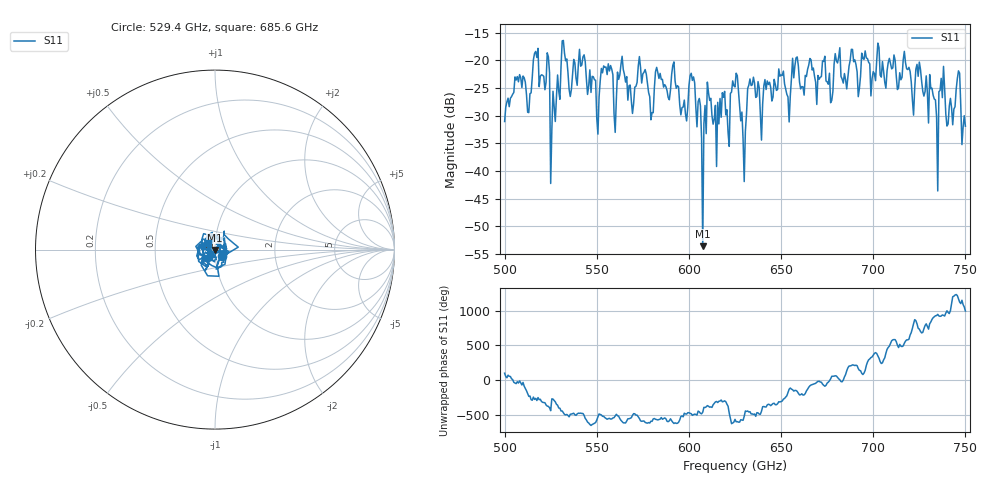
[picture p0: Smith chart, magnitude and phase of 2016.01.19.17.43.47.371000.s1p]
!Created with skrf (http://scikit-rf.org).
# GHz S RI R 50.0
!freq ReS11 ImS11
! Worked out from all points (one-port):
!   401 points, 500 GHz to 750 GHz, reference 50 ohm
!   lowest |S11| = -53.6 dB at 607.5 GHz (marker M1), VSWR 1.00, Z = 50 - j0.205 ohm
!   |S11| at or under -10 dB: start of sweep to end of sweep
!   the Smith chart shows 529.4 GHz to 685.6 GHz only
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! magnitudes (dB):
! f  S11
! 500 GHz  -31.1
! 506.9 GHz  -22.9
! 513.1 GHz  -29.4
! 516.9 GHz  -18.4
! 523.1 GHz  -18.6
! 526.2 GHz  -25.6
! 531.2 GHz  -16.5
! 550.6 GHz  -33.3
! 562.5 GHz  -22.6
! 579.4 GHz  -30.7
! 583.1 GHz  -22.2
! 593.8 GHz  -24.6
! 598.1 GHz  -29.7
! 601.9 GHz  -23.6
! 607.5 GHz  -53.6
! 611.2 GHz  -27.2
! 621.2 GHz  -33.1
! 625 GHz  -24.8
! 629.4 GHz  -34.2
! 633.8 GHz  -24.6
! 656.2 GHz  -19.6
! 687.5 GHz  -20.0
! 718.8 GHz  -21.6
! 733.8 GHz  -27.2
! 736.9 GHz  -23.2
! 740.6 GHz  -31.5
! 746.2 GHz  -21.9
! 750 GHz  -31.9
